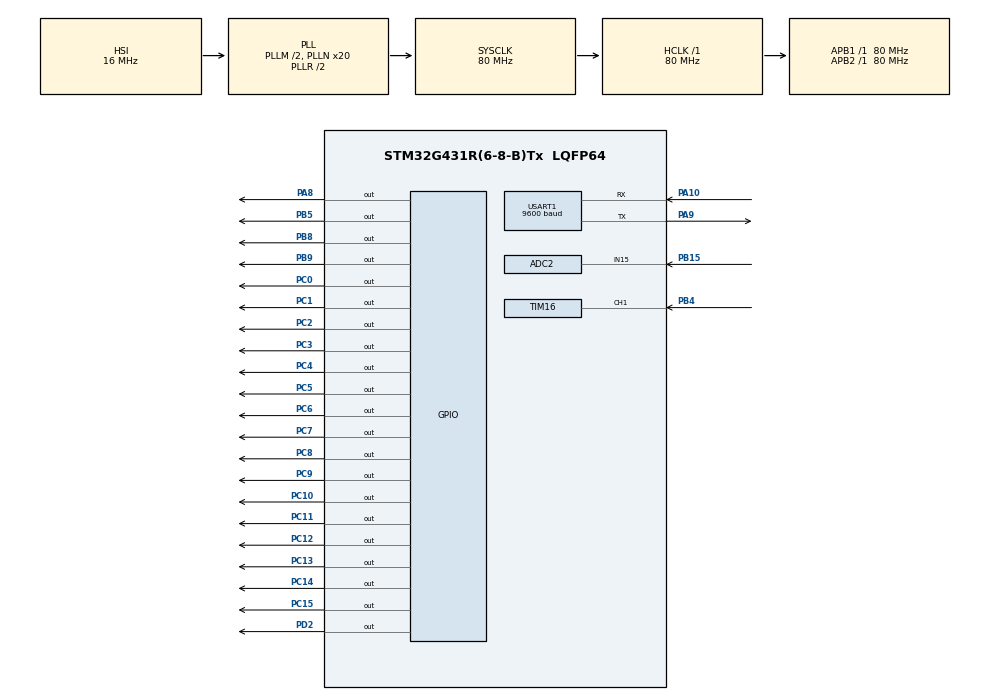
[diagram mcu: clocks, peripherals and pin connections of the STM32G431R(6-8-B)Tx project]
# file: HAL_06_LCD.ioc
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ADC2.Channel-0\#ChannelRegularConversion=ADC_CHANNEL_15
ADC2.NbrOfConversionFlag=1
ADC2.OffsetNumber-0\#ChannelRegularConversion=ADC_OFFSET_NONE
ADC2.Rank-0\#ChannelRegularConversion=1
ADC2.SamplingTime-0\#ChannelRegularConversion=ADC_SAMPLETIME_2CYCLES_5
Mcu.Family=STM32G4
Mcu.Name=STM32G431R(6-8-B)Tx
Mcu.Package=LQFP64
NVIC.PriorityGroup=NVIC_PRIORITYGROUP_4
NVIC.TIM1_UP_TIM16_IRQn=true\:0\:0\:false\:false\:true\:true\:true\:true
NVIC.TIM3_IRQn=true\:0\:0\:false\:false\:true\:true\:true\:true
NVIC.USART1_IRQn=true\:0\:0\:false\:false\:true\:true\:true\:true
PA10.Mode=Asynchronous
PA10.Signal=USART1_RX
PA8.Signal=GPIO_Output
PA9.Mode=Asynchronous
PA9.Signal=USART1_TX
PB15.Mode=IN15-Single-Ended
PB15.Signal=ADC2_IN15
PB4.Signal=S_TIM16_CH1
PB5.Signal=GPIO_Output
PB8-BOOT0.Signal=GPIO_Output
PB9.Signal=GPIO_Output
PC0.Signal=GPIO_Output
PC1.Signal=GPIO_Output
PC10.Signal=GPIO_Output
PC11.Signal=GPIO_Output
PC12.Signal=GPIO_Output
PC13.Signal=GPIO_Output
PC14-OSC32_IN.Signal=GPIO_Output
PC15-OSC32_OUT.Signal=GPIO_Output
PC2.Signal=GPIO_Output
PC3.Signal=GPIO_Output
PC4.Signal=GPIO_Output
PC5.Signal=GPIO_Output
PC6.Signal=GPIO_Output
PC7.Signal=GPIO_Output
PC8.Signal=GPIO_Output
PC9.Signal=GPIO_Output
PD2.Signal=GPIO_Output
PF0-OSC_IN.Mode=HSE-External-Oscillator
PF0-OSC_IN.Signal=RCC_OSC_IN
PF1-OSC_OUT.Mode=HSE-External-Oscillator
PF1-OSC_OUT.Signal=RCC_OSC_OUT
ProjectManager.HeapSize=0x200
ProjectManager.StackSize=0x400
ProjectManager.TargetToolchain=MDK-ARM V5.27
RCC.ADC12Freq_Value=80000000
RCC.AHBFreq_Value=80000000
RCC.APB1Freq_Value=80000000
RCC.APB1TimFreq_Value=80000000
RCC.APB2Freq_Value=80000000
RCC.APB2TimFreq_Value=80000000
RCC.CortexFreq_Value=80000000
RCC.EXTERNAL_CLOCK_VALUE=12288000
RCC.HCLKFreq_Value=80000000
RCC.HSE_VALUE=24000000
RCC.HSI48_VALUE=48000000
RCC.HSI_VALUE=16000000
RCC.LSE_VALUE=32768
RCC.PLLM=RCC_PLLM_DIV2
RCC.PLLN=20
RCC.SYSCLKFreq_VALUE=80000000
RCC.SYSCLKSource=RCC_SYSCLKSOURCE_PLLCLK
RCC.USBFreq_Value=80000000
RCC.VCOOutputFreq_Value=160000000
SH.S_TIM16_CH1.0=TIM16_CH1,Input_Capture1_from_TI1
TIM16.Channel=TIM_CHANNEL_1
TIM16.Prescaler=80-1
TIM3.PeriodNoDither=10000-1
TIM3.Prescaler=80-1
USART1.BaudRate=9600
USART1.VirtualMode-Asynchronous=VM_ASYNC
VP_SYS_VS_DBSignals.Mode=DisableDeadBatterySignals
VP_TIM16_VS_ClockSourceINT.Mode=Enable_Timer
VP_TIM3_VS_ClockSourceINT.Mode=Internal
board=custom

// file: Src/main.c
/* USER CODE BEGIN Header */
/**
  ******************************************************************************
  * @file           : main.c
  * @brief          : Main program body
  ******************************************************************************
  * @attention
  *
  * <h2><center>&copy; Copyright (c) 2021 STMicroelectronics.
  * All rights reserved.</center></h2>
  *
  * This software component is licensed by ST under BSD 3-Clause license,
  * the "License"; You may not use this file except in compliance with the
  * License. You may obtain a copy of the License at:
  *                        opensource.org/licenses/BSD-3-Clause
  *
  ******************************************************************************
  */
/* USER CODE END Header */
#include "main.h"
#include "adc.h"
#include "tim.h"
#include "usart.h"
#include "gpio.h"

/* USER CODE BEGIN PV */
extern uint16_t freq;

extern char rxdata[30];
extern uint8_t rxtemp;
extern uint8_t rxpointer;
uint8_t n=0;

extern bool ld1_flag;
bool ld2_flag=0;
/* USER CODE END PV */

void SystemClock_Config(void);
/* USER CODE BEGIN PFP */
void disp_proc(void);
void rx_proc(void);
void led_proc(void);
/* USER CODE END PFP */

int main(void)
{

  /* MCU Configuration--------------------------------------------------------*/

  /* Reset of all peripherals, Initializes the Flash interface and the Systick. */
  HAL_Init();

  /* Configure the system clock */
  SystemClock_Config();

  /* Initialize all configured peripherals */
  MX_GPIO_Init();
  MX_ADC2_Init();
  MX_TIM16_Init();
  MX_USART1_UART_Init();
  MX_TIM3_Init();
  /* USER CODE BEGIN 2 */

	LCD_Init();
	HAL_TIM_IC_Start_IT(&htim16,TIM_CHANNEL_1);
	HAL_UART_Receive_IT(&huart1,&rxtemp,1);
	HAL_TIM_Base_Start_IT(&htim3);
  /* USER CODE END 2 */

  /* Infinite loop */
  /* USER CODE BEGIN WHILE */

	LCD_Clear(Black);
	LCD_SetBackColor(Black);
	LCD_SetTextColor(White);

  while (1)
  {
    /* USER CODE END WHILE */

    /* USER CODE BEGIN 3 */
		disp_proc();
		if(rxpointer!=0)
		{
			int temp;
			temp=rxpointer;
			HAL_Delay(1);
			if(temp==rxpointer)
				rx_proc();
		}
		led_proc();
  }
  /* USER CODE END 3 */
}

void SystemClock_Config(void)
{
  RCC_OscInitTypeDef RCC_OscInitStruct = {0};
  RCC_ClkInitTypeDef RCC_ClkInitStruct = {0};

  /** Configure the main internal regulator output voltage
  */
  HAL_PWREx_ControlVoltageScaling(PWR_REGULATOR_VOLTAGE_SCALE1);

  /** Initializes the RCC Oscillators according to the specified parameters
  * in the RCC_OscInitTypeDef structure.
  */
  RCC_OscInitStruct.OscillatorType = RCC_OSCILLATORTYPE_HSI;
  RCC_OscInitStruct.HSIState = RCC_HSI_ON;
  RCC_OscInitStruct.HSICalibrationValue = RCC_HSICALIBRATION_DEFAULT;
  RCC_OscInitStruct.PLL.PLLState = RCC_PLL_ON;
  RCC_OscInitStruct.PLL.PLLSource = RCC_PLLSOURCE_HSI;
  RCC_OscInitStruct.PLL.PLLM = RCC_PLLM_DIV2;
  RCC_OscInitStruct.PLL.PLLN = 20;
  RCC_OscInitStruct.PLL.PLLP = RCC_PLLP_DIV2;
  RCC_OscInitStruct.PLL.PLLQ = RCC_PLLQ_DIV2;
  RCC_OscInitStruct.PLL.PLLR = RCC_PLLR_DIV2;
  if (HAL_RCC_OscConfig(&RCC_OscInitStruct) != HAL_OK)
  {
    Error_Handler();
  }

  /** Initializes the CPU, AHB and APB buses clocks
  */
  RCC_ClkInitStruct.ClockType = RCC_CLOCKTYPE_HCLK|RCC_CLOCKTYPE_SYSCLK
                              |RCC_CLOCKTYPE_PCLK1|RCC_CLOCKTYPE_PCLK2;
  RCC_ClkInitStruct.SYSCLKSource = RCC_SYSCLKSOURCE_PLLCLK;
  RCC_ClkInitStruct.AHBCLKDivider = RCC_SYSCLK_DIV1;
  RCC_ClkInitStruct.APB1CLKDivider = RCC_HCLK_DIV1;
  RCC_ClkInitStruct.APB2CLKDivider = RCC_HCLK_DIV1;

  if (HAL_RCC_ClockConfig(&RCC_ClkInitStruct, FLASH_LATENCY_2) != HAL_OK)
  {
    Error_Handler();
  }
}

/* USER CODE BEGIN 4 */
void disp_proc()
{
	char text[20];
	sprintf(text,"     DATA    ");
	LCD_DisplayStringLine(Line1, (uint8_t *)text);
	sprintf(text,"   V:%.2fV    ",get_adc(&hadc2));
	LCD_DisplayStringLine(Line3, (uint8_t *)text);
	sprintf(text,"   F:%dHz    ",freq);
	LCD_DisplayStringLine(Line4, (uint8_t *)text);
	sprintf(text,"   N:%d    ",n);
	LCD_DisplayStringLine(Line5, (uint8_t *)text);

}

void rx_proc()
{
	if(rxpointer==1)
	{
		if(rxdata[0]=='@')
		{
			char text[30];
			sprintf(text,"V:%.2fV\r\n",get_adc(&hadc2));
			HAL_UART_Transmit(&huart1,(uint8_t *)(&text),strlen(text),50);
			n++;
			ld1_flag=1;
			ld2_flag=0;
		}
		else if(rxdata[0]=='#')
		{
			char text[30];
			sprintf(text,"F:%dHz\r\n",freq);
			HAL_UART_Transmit(&huart1,(uint8_t *)(&text),strlen(text),50);
			n++;
			ld1_flag=1;
			ld2_flag=0;
		}
		else
		{
			char text[30];
			sprintf(text,"error\r\n");
			HAL_UART_Transmit(&huart1,(uint8_t *)(&text),strlen(text),50);
			ld2_flag=1;
		}
	}
	else
	{
		char text[30];
		sprintf(text,"error\r\n");
		HAL_UART_Transmit(&huart1,(uint8_t *)(&text),strlen(text),50);
	}
	rxpointer=0;
	memset(rxdata,0,30);
}

void led_proc()
{
	led_init();
	ld1(!ld1_flag);
	ld2(!ld2_flag);
}
/* USER CODE END 4 */

void Error_Handler(void)
{
}
